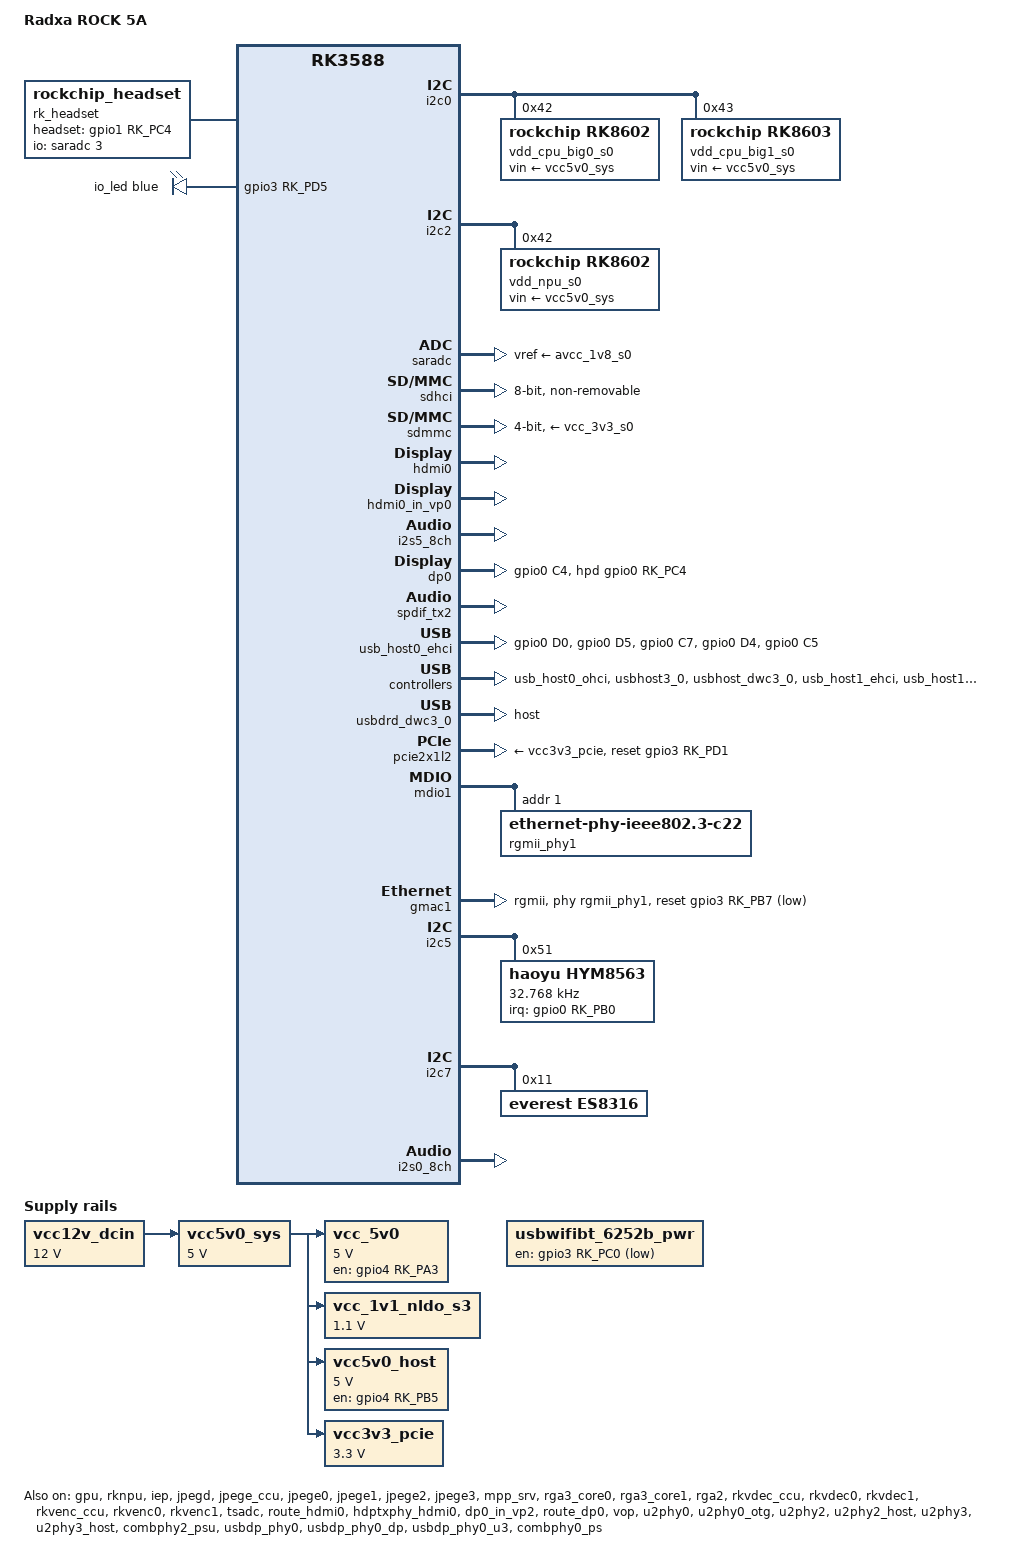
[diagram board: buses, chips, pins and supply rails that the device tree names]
// SPDX-License-Identifier: (GPL-2.0+ OR MIT)
/*
 * Copyright (c) 2022 Rockchip Electronics Co., Ltd.
 * Copyright (c) 2022 Radxa Limited
 *
 */

/dts-v1/;

#include <dt-bindings/gpio/gpio.h>
#include <dt-bindings/leds/common.h>
#include <dt-bindings/pwm/pwm.h>
#include <dt-bindings/pinctrl/rockchip.h>
#include <dt-bindings/input/rk-input.h>
#include <dt-bindings/display/drm_mipi_dsi.h>
#include <dt-bindings/display/rockchip_vop.h>
#include <dt-bindings/sensor-dev.h>
#include "rk3588s.dtsi"
#include "rk3588-rk806-single.dtsi"
#include "rk3588-linux.dtsi"
#include "rk3588s-rock-5a-imx415.dtsi"
#include "rk3588s-rock-5a-radxa-display-10fhd.dtsi"

/ {
	model = "Radxa ROCK 5A";
	compatible = "radxa,rock-5a", "rockchip,rk3588";

	aliases {
		mmc0 = &sdmmc;
		mmc1 = &sdhci;
		mmc2 = &sdio;
	};

	/delete-node/ chosen;

	vcc12v_dcin: vcc12v-dcin {
		compatible = "regulator-fixed";
		regulator-name = "vcc12v_dcin";
		regulator-always-on;
		regulator-boot-on;
		regulator-min-microvolt = <12000000>;
		regulator-max-microvolt = <12000000>;
	};

	vcc5v0_sys: vcc5v0-sys {
		compatible = "regulator-fixed";
		regulator-name = "vcc5v0_sys";
		regulator-always-on;
		regulator-boot-on;
		regulator-min-microvolt = <5000000>;
		regulator-max-microvolt = <5000000>;
		vin-supply = <&vcc12v_dcin>;
	};

	vcc_5v0: vcc-5v0 {
		compatible = "regulator-fixed";
		regulator-name = "vcc_5v0";
		regulator-min-microvolt = <5000000>;
		regulator-max-microvolt = <5000000>;
		regulator-boot-on;
		regulator-always-on;
		enable-active-high;
		gpio = <&gpio4 RK_PA3 GPIO_ACTIVE_HIGH>;
		pinctrl-names = "default";
		pinctrl-0 = <&vcc_5v0_en>;
		vin-supply = <&vcc5v0_sys>;
	};

	vcc_1v1_nldo_s3: vcc-1v1-nldo-s3 {
		compatible = "regulator-fixed";
		regulator-name = "vcc_1v1_nldo_s3";
		regulator-always-on;
		regulator-boot-on;
		regulator-min-microvolt = <1100000>;
		regulator-max-microvolt = <1100000>;
		vin-supply = <&vcc5v0_sys>;
	};

	hdmi0_sound: hdmi0-sound {
		status = "okay";
		compatible = "rockchip,hdmi";
		rockchip,mclk-fs = <128>;
		rockchip,card-name = "rockchip-hdmi0";
		rockchip,cpu = <&i2s5_8ch>;
		rockchip,codec = <&hdmi0>;
		rockchip,jack-det;
	};

	dp0_sound: dp0-sound {
		status = "okay";
		compatible = "rockchip,hdmi";
		rockchip,mclk-fs = <512>;
		rockchip,card-name= "rockchip,dp0";
		rockchip,cpu = <&spdif_tx2>;
		rockchip,codec = <&dp0 1>;
		rockchip,jack-det;
	};

	es8316_sound: es8316-sound {
		status = "okay";
		compatible = "simple-audio-card";
		simple-audio-card,format = "i2s";
		simple-audio-card,mclk-fs = <256>;
		simple-audio-card,name = "rockchip-es8316";
		simple-audio-card,dai-link@0 {
			format = "i2s";
			cpu {
				sound-dai = <&i2s0_8ch>;
			};
			codec {
				sound-dai = <&es8316>;
			};
		};
	};

	rk_headset: rk-headset {
		status = "okay";
		compatible = "rockchip_headset";
		headset_gpio = <&gpio1 RK_PC4 GPIO_ACTIVE_HIGH>;
		pinctrl-names = "default";
		pinctrl-0 = <&hp_det>;
		io-channels = <&saradc 3>;
	};

	vcc5v0_host: vcc5v0-host-regulator {
		compatible = "regulator-fixed";
		regulator-name = "vcc5v0_host";
		regulator-boot-on;
		regulator-always-on;
		regulator-min-microvolt = <5000000>;
		regulator-max-microvolt = <5000000>;
		enable-active-high;
		gpio = <&gpio4 RK_PB5 GPIO_ACTIVE_HIGH>;
		pinctrl-names = "default";
		pinctrl-0 = <&vcc5v0_host_en>;
		vin-supply = <&vcc5v0_sys>;
	};

	vcc3v3_pcie: vcc3v3-pcie {
		compatible = "regulator-fixed";
		regulator-name = "vcc3v3_pcie";
		regulator-min-microvolt = <3300000>;
		regulator-max-microvolt = <3300000>;
		startup-delay-us = <5000>;
		vin-supply = <&vcc5v0_sys>;
	};

	usbwifibt_6252b_pwr: usbwifibt-6252b-pwr {
		compatible = "regulator-fixed";
		regulator-name = "usbwifibt_6252b_pwr";
		regulator-always-on;
		regulator-boot-on;
		enable-active-low;
		gpios = <&gpio3 RK_PC0 GPIO_ACTIVE_LOW>;
		pinctrl-names = "default";
		pinctrl-0 = <&usbwifibt_6252b_drv>;
	};

	leds {
		compatible = "gpio-leds";
		pinctrl-names = "default";
		pinctrl-0 = <&io_led>;

		io_led {
			function = LED_FUNCTION_STATUS;
			color = <LED_COLOR_ID_BLUE>;
			gpios = <&gpio3 RK_PD5 GPIO_ACTIVE_HIGH>;
			linux,default-trigger = "heartbeat";
		};
	};
};

&i2c0 {
	status = "okay";
	pinctrl-names = "default";
	pinctrl-0 = <&i2c0m2_xfer>;

	vdd_cpu_big0_s0: vdd_cpu_big0_mem_s0: rk8602@42 {
		compatible = "rockchip,rk8602";
		reg = <0x42>;
		vin-supply = <&vcc5v0_sys>;
		regulator-compatible = "rk860x-reg";
		regulator-name = "vdd_cpu_big0_s0";
		regulator-min-microvolt = <550000>;
		regulator-max-microvolt = <1050000>;
		regulator-ramp-delay = <2300>;
		rockchip,suspend-voltage-selector = <1>;
		regulator-boot-on;
		regulator-always-on;
		regulator-state-mem {
			regulator-off-in-suspend;
		};
	};

	vdd_cpu_big1_s0: vdd_cpu_big1_mem_s0: rk8603@43 {
		compatible = "rockchip,rk8603";
		reg = <0x43>;
		vin-supply = <&vcc5v0_sys>;
		regulator-compatible = "rk860x-reg";
		regulator-name = "vdd_cpu_big1_s0";
		regulator-min-microvolt = <550000>;
		regulator-max-microvolt = <1050000>;
		regulator-ramp-delay = <2300>;
		rockchip,suspend-voltage-selector = <1>;
		regulator-boot-on;
		regulator-always-on;
		regulator-state-mem {
			regulator-off-in-suspend;
		};
	};
};

&i2c2 {
	status = "okay";
	pinctrl-names = "default";
	pinctrl-0 = <&i2c2m0_xfer>;

	vdd_npu_s0: vdd_npu_mem_s0: rk8602@42 {
		compatible = "rockchip,rk8602";
		reg = <0x42>;
		vin-supply = <&vcc5v0_sys>;
		regulator-compatible = "rk860x-reg";
		regulator-name = "vdd_npu_s0";
		regulator-min-microvolt = <550000>;
		regulator-max-microvolt = <950000>;
		regulator-ramp-delay = <2300>;
		rockchip,suspend-voltage-selector = <1>;
		regulator-boot-on;
		regulator-always-on;
		regulator-state-mem {
			regulator-off-in-suspend;
		};
	};
};

/* CPU */

&cpu_l0 {
	cpu-supply = <&vdd_cpu_lit_s0>;
	mem-supply = <&vdd_cpu_lit_mem_s0>;
};

&cpu_b0 {
	cpu-supply = <&vdd_cpu_big0_s0>;
	mem-supply = <&vdd_cpu_big0_mem_s0>;
};

&cpu_b2 {
	cpu-supply = <&vdd_cpu_big1_s0>;
	mem-supply = <&vdd_cpu_big1_mem_s0>;
};

/* GPU */

&gpu {
	mali-supply = <&vdd_gpu_s0>;
	mem-supply = <&vdd_gpu_mem_s0>;
	status = "okay";
};

/* NPU */

&rknpu {
	rknpu-supply = <&vdd_npu_s0>;
	mem-supply = <&vdd_npu_mem_s0>;
	status = "okay";
};

&rknpu_mmu {
	status = "okay";
};

&iep {
	status = "okay";
};

&iep_mmu {
	status = "okay";
};

&jpegd {
	status = "okay";
};

&jpegd_mmu {
	status = "okay";
};

&jpege_ccu {
	status = "okay";
};

&jpege0 {
	status = "okay";
};

&jpege0_mmu {
	status = "okay";
};

&jpege1 {
	status = "okay";
};

&jpege1_mmu {
	status = "okay";
};

&jpege2 {
	status = "okay";
};

&jpege2_mmu {
	status = "okay";
};

&jpege3 {
	status = "okay";
};

&jpege3_mmu {
	status = "okay";
};

&mpp_srv {
	status = "okay";
};

&rga3_core0 {
	status = "okay";
};

&rga3_0_mmu {
	status = "okay";
};

&rga3_core1 {
	status = "okay";
};

&rga3_1_mmu {
	status = "okay";
};

&rga2 {
	status = "okay";
};

&rkvdec_ccu {
	status = "okay";
};

&rkvdec0 {
	status = "okay";
};

&rkvdec0_mmu {
	status = "okay";
};

&rkvdec1 {
	status = "okay";
};

&rkvdec1_mmu {
	status = "okay";
};

&rkvenc_ccu {
	status = "okay";
};

&rkvenc0 {
	status = "okay";
};

&rkvenc0_mmu {
	status = "okay";
};

&rkvenc1 {
	status = "okay";
};

&rkvenc1_mmu {
	status = "okay";
};

&saradc {
	status = "okay";
	vref-supply = <&avcc_1v8_s0>;
};

/* Storage */
/* eMMC */

&sdhci {
	bus-width = <8>;
	no-sdio;
	no-sd;
	non-removable;
	max-frequency = <200000000>;
	mmc-hs400-1_8v;
	/delete-property/ mmc-hs400-enhanced-strobe;
	pinctrl-names = "default";
	pinctrl-0 = <&emmc_rstnout &emmc_bus8 &emmc_clk &emmc_cmd &emmc_data_strobe>;
	status = "okay";
};

/* SD */

&sdmmc {
	max-frequency = <150000000>;
	no-sdio;
	no-mmc;
	bus-width = <4>;
	cap-mmc-highspeed;
	cap-sd-highspeed;
	disable-wp;
	sd-uhs-sdr104;
	vmmc-supply = <&vcc_3v3_s0>;
	vqmmc-supply = <&vccio_sd_s0>;
	pinctrl-names = "default";
	pinctrl-0 = <&sdmmc_bus4 &sdmmc_clk &sdmmc_cmd &sdmmc_det>;
	status = "okay";
};

/* ADC */

&tsadc {
	status = "okay";
};

/* HDMI */

&hdmi0 {
	status = "okay";
};

&hdmi0_in_vp0 {
	status = "okay";
};

&route_hdmi0 {
	status = "okay";
};

&hdptxphy_hdmi0 {
	status = "okay";
};

&i2s5_8ch {
	status = "okay";
};

/* DP */

&dp0 {
	status = "okay";
	pinctrl-names = "default";
	pinctrl-0 = <&dp0_hpd>;
	hpd-gpios = <&gpio0 RK_PC4 GPIO_ACTIVE_HIGH>;
};

&dp0_in_vp2 {
	status = "okay";
};

&route_dp0 {
	status = "okay";
	connect = <&vp2_out_dp0>;
};

&spdif_tx2 {
	status = "okay";
};

/* Video Ports */

&vop {
	status = "okay";
};

&vop_mmu {
	status = "okay";
};

/* vp0 & vp1 splice for 8K output */
&vp0 {
	rockchip,plane-mask = <(1 << ROCKCHIP_VOP2_CLUSTER0 | 1 << ROCKCHIP_VOP2_ESMART0)>;
	rockchip,primary-plane = <ROCKCHIP_VOP2_ESMART0>;
};

&vp1 {
	rockchip,plane-mask = <(1 << ROCKCHIP_VOP2_CLUSTER1 | 1 << ROCKCHIP_VOP2_ESMART1)>;
	rockchip,primary-plane = <ROCKCHIP_VOP2_ESMART1>;
};

&vp2 {
	rockchip,plane-mask = <(1 << ROCKCHIP_VOP2_CLUSTER2 | 1 << ROCKCHIP_VOP2_ESMART2)>;
	rockchip,primary-plane = <ROCKCHIP_VOP2_ESMART2>;
};

&vp3 {
	rockchip,plane-mask = <(1 << ROCKCHIP_VOP2_CLUSTER3 | 1 << ROCKCHIP_VOP2_ESMART3)>;
	rockchip,primary-plane = <ROCKCHIP_VOP2_ESMART3>;
};

/* USB */

&u2phy0 {
	status = "okay";
};

&u2phy0_otg {
	status = "okay";
	vbus-supply = <&vcc5v0_host>;
};

&u2phy2 {
	status = "okay";
};

&u2phy2_host {
	status = "okay";
	phy-supply = <&vcc5v0_host>;
};

&usb_host0_ehci {
	status = "okay";
	pinctrl-names = "default";
	pinctrl-0 = <&wl_reset &wl_dis &wl_wake_host &bt_dis &bt_wake_host>;
};

&usb_host0_ohci {
	status = "okay";
};

&u2phy3 {
	status = "okay";
};

&u2phy3_host {
	phy-supply = <&vcc5v0_host>;
	status = "okay";
};

&usbhost3_0 {
	status = "okay";
};

&usbhost_dwc3_0 {
	status = "okay";
};

&combphy2_psu {
	status = "okay";
};

&usb_host1_ehci {
	status = "okay";
};

&usb_host1_ohci {
	status = "okay";
};

&usbdrd3_0 {
	status = "okay";
};

&usbdrd_dwc3_0 {
	dr_mode = "host";
	status = "okay";
};

&usbdp_phy0 {
	status = "okay";
	rockchip,dp-lane-mux = < 2 3 >;
};

&usbdp_phy0_dp {
	status = "okay";
};

&usbdp_phy0_u3 {
	status = "okay";
};

/* PCIe */

&combphy0_ps {
	status = "okay";
};

&pcie2x1l2 {
	status = "okay";
	reset-gpios = <&gpio3 RK_PD1 GPIO_ACTIVE_HIGH>;
	vpcie3v3-supply = <&vcc3v3_pcie>;
};

/* Ethernet */

&mdio1 {
	rgmii_phy1: phy@1 {
		compatible = "ethernet-phy-ieee802.3-c22";
		reg = <0x1>;
	};
};

&gmac1 {
	status = "okay";
	phy-mode = "rgmii";
	clock_in_out = "output";

	snps,reset-gpio = <&gpio3 RK_PB7 GPIO_ACTIVE_LOW>;
	snps,reset-active-low;
	// Reset time is 20ms, 100ms for rtl8211f
	snps,reset-delays-us = <0 20000 100000>;

	pinctrl-names = "default";
	pinctrl-0 = <&gmac1_miim
		     &gmac1_tx_bus2
		     &gmac1_rx_bus2
		     &gmac1_rgmii_clk
		     &gmac1_rgmii_bus>;

	tx_delay = <0x3a>;
	rx_delay = <0x3e>;

	phy-handle = <&rgmii_phy1>;
};

/* I2C */

&i2c5 {
	status = "okay";

	hym8563: hym8563@51 {
		compatible = "haoyu,hym8563";
		reg = <0x51>;
		#clock-cells = <0>;
		clock-frequency = <32768>;
		clock-output-names = "hym8563";
		pinctrl-names = "default";
		pinctrl-0 = <&rtc_int>;

		interrupt-parent = <&gpio0>;
		interrupts = <RK_PB0 IRQ_TYPE_LEVEL_LOW>;
	};
};

&i2c7 {
	status = "okay";

	es8316: es8316@11 {
		compatible = "everest,es8316";
		reg = <0x11>;
		clocks = <&cru I2S0_8CH_MCLKOUT>;
		clock-names = "mclk";
		pinctrl-names = "default";
		pinctrl-0 = <&i2s0_mclk>;
		#sound-dai-cells = <0>;
	};
};

&i2s0_8ch {
	status = "okay";
	rockchip,playback-channels = <2>;
	rockchip,capture-channels = <2>;
	#sound-dai-cells = <0>;
	pinctrl-names = "default";
	pinctrl-0 = <&i2s0_lrck
			 &i2s0_sclk
			 &i2s0_sdi0
			 &i2s0_sdo0>;
};

&pinctrl {
	leds {
		io_led: io-led {
			rockchip,pins = <3 RK_PD5 RK_FUNC_GPIO &pcfg_pull_none>;
		};
	};

	power {
		vcc_5v0_en: vcc-5v0-en {
			rockchip,pins = <4 RK_PA3 RK_FUNC_GPIO &pcfg_pull_none>;
		};
	};

	usb {
		vcc5v0_host_en: vcc5v0-host-en {
			rockchip,pins = <4 RK_PB5 RK_FUNC_GPIO &pcfg_pull_none>;
		};

		usbwifibt_6252b_drv: fg6252b-pwr-pin {
			rockchip,pins = <3 RK_PC0 RK_FUNC_GPIO &pcfg_pull_none>;
	    };
	};

	wifibt {
		wl_reset: wl-reset {
			rockchip,pins = <0 RK_PD0 RK_FUNC_GPIO &pcfg_pull_up>;
	    };

		wl_dis: wl-dis {
			rockchip,pins = <0 RK_PD5 RK_FUNC_GPIO &pcfg_output_high>;
	    };

		wl_wake_host: wl-wake-host {
			rockchip,pins = <0 RK_PC7 RK_FUNC_GPIO &pcfg_pull_up>;
	    };

		bt_dis: bt-dis {
			rockchip,pins = <0 RK_PD4 RK_FUNC_GPIO &pcfg_output_high>;
	    };

		bt_wake_host: bt-wake-host {
			rockchip,pins = <0 RK_PC5 RK_FUNC_GPIO &pcfg_pull_up>;
	    };
	};

	hym8563 {
		rtc_int: rtc-int {
			rockchip,pins = <0 RK_PB0 RK_FUNC_GPIO &pcfg_pull_up>;
		};
	};

	headphone {
		hp_det: hp-det {
			rockchip,pins = <1 RK_PC4 RK_FUNC_GPIO &pcfg_pull_up>;
		};
	};

	dp {
		dp0_hpd: dp0-hpd {
			rockchip,pins = <0 RK_PC4 RK_FUNC_GPIO &pcfg_pull_none>;
		};
	};
};
